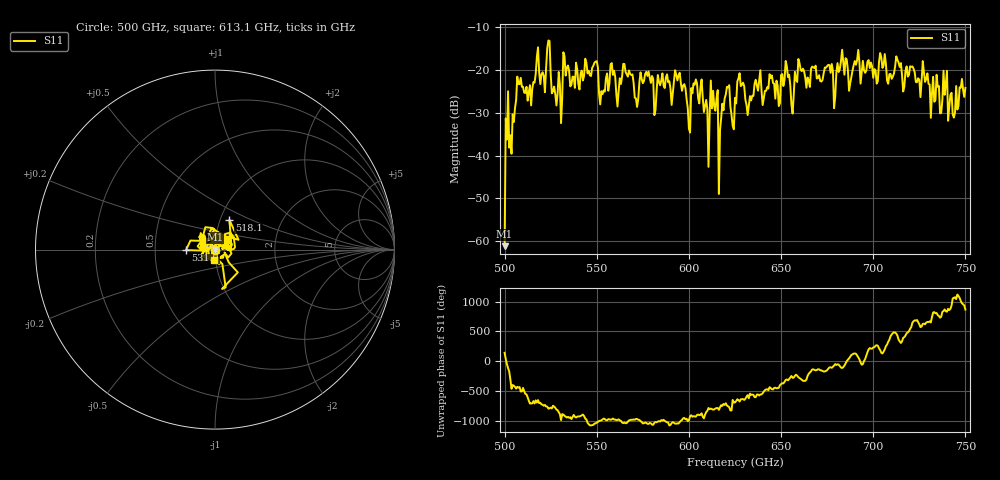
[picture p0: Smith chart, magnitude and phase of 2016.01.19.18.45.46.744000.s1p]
!Created with skrf (http://scikit-rf.org).
# GHz S RI R 50.0
!freq ReS11 ImS11
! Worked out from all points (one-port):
!   401 points, 500 GHz to 750 GHz, reference 50 ohm
!   lowest |S11| = -61.2 dB at 500 GHz (marker M1), VSWR 1.00, Z = 49.9 + j0.0554 ohm
!   |S11| at or under -10 dB: start of sweep to end of sweep
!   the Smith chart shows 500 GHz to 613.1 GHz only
!   S11 on the Smith chart (normalised r, x): 500 GHz: 1.00, +0.00; 518.1 GHz: 1.11, +0.38; 531.9 GHz: 0.72, -0.00; 613.1 GHz: 0.98, -0.11
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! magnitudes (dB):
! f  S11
! 500 GHz  -61.2
! 501.9 GHz  -25.0
! 503.8 GHz  -39.6
! 507.5 GHz  -23.3
! 513.8 GHz  -23.5
! 518.1 GHz  -14.7
! 531.2 GHz  -26.5
! 531.9 GHz  -15.8
! 549.4 GHz  -18.0
! 552.5 GHz  -24.9
! 562.5 GHz  -21.9
! 593.8 GHz  -22.4
! 599.4 GHz  -28.9
! 603.1 GHz  -23.4
! 609.4 GHz  -27.0
! 613.1 GHz  -24.9
! 617.5 GHz  -31.2
! 620.6 GHz  -23.9
! 625 GHz  -26.5
! 627.5 GHz  -20.7
! 631.9 GHz  -30.5
! 653.1 GHz  -19.1
! 656.2 GHz  -30.2
! 660.6 GHz  -19.9
! 687.5 GHz  -23.1
! 718.8 GHz  -21.5
! 744.4 GHz  -29.9
! 750 GHz  -24.2
